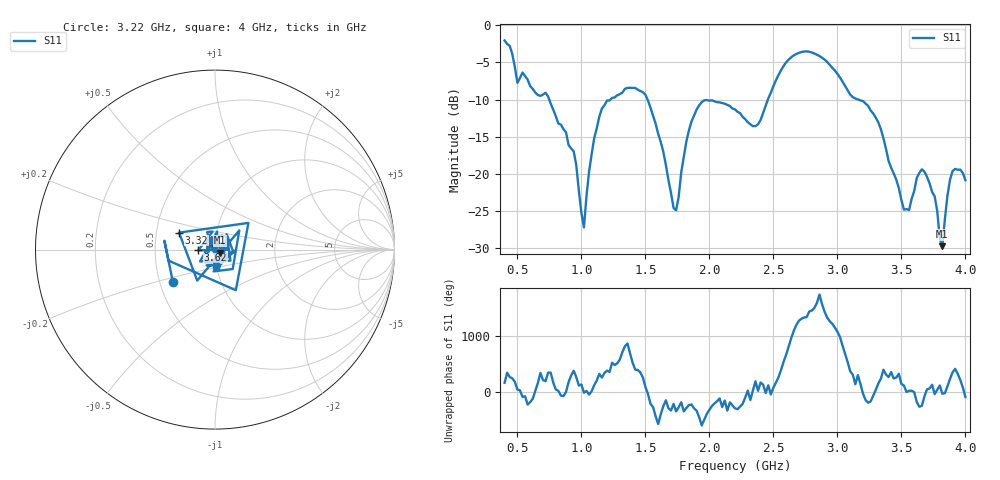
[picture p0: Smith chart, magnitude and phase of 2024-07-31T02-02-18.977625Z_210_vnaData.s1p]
!Created with skrf (http://scikit-rf.org).
# Hz S RI R 50.0
!freq ReS11 ImS11
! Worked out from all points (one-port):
!   181 points, 400 MHz to 4 GHz, reference 50 ohm
!   lowest |S11| = -29.8 dB at 3.82 GHz (marker M1), VSWR 1.07, Z = 52.9 - j1.71 ohm
!   |S11| at or under -10 dB: 748.5 MHz to 1.228 GHz (479.3 MHz wide, 48.5 % of centre); 1.516 GHz to 2.457 GHz (940.7 MHz wide, 47.3 % of centre); 3.162 GHz to end of sweep
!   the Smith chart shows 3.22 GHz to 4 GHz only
!   S11 on the Smith chart (normalised r, x): 3.22 GHz: 0.59, -0.23; 3.32 GHz: 0.66, +0.13; 3.62 GHz: 0.83, -0.01; 4 GHz: 0.99, -0.18
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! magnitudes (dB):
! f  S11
! 400 MHz  -2.0
! 500 MHz  -7.7
! 720 MHz  -9.1
! 860 MHz  -14.0
! 940 MHz  -17.0
! 1.02 GHz  -27.3
! 1.06 GHz  -19.7
! 1.14 GHz  -12.3
! 1.3 GHz  -9.3
! 1.5 GHz  -9.4
! 1.64 GHz  -17.1
! 1.72 GHz  -24.6
! 1.76 GHz  -23.1
! 1.82 GHz  -15.7
! 1.92 GHz  -10.8
! 2.2 GHz  -11.3
! 2.38 GHz  -13.3
! 2.66 GHz  -4.0
! 2.88 GHz  -4.4
! 3.1 GHz  -9.3
! 3.22 GHz  -10.6
! 3.32 GHz  -13.1
! 3.56 GHz  -24.9
! 3.62 GHz  -20.6
! 3.76 GHz  -23.1
! 3.82 GHz  -29.8
! 3.9 GHz  -19.7
! 4 GHz  -20.9
